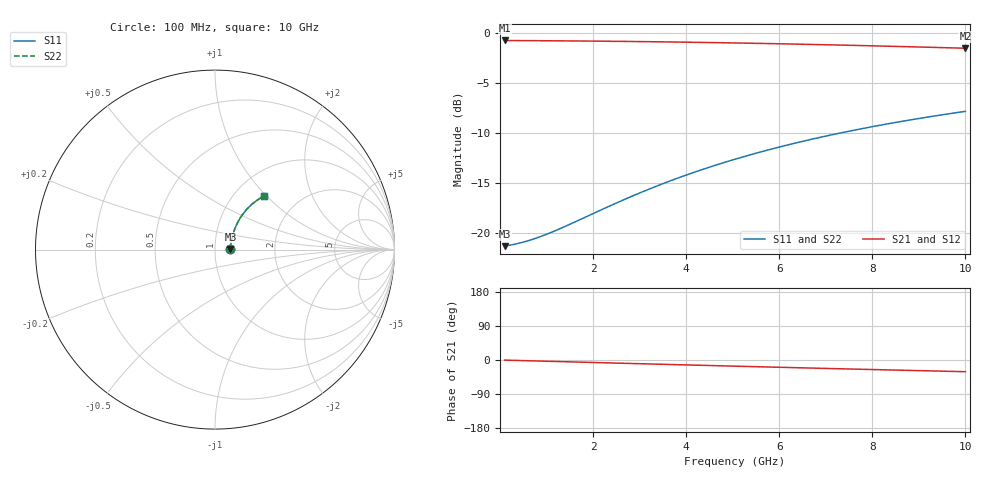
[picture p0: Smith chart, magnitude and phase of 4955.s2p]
# Hz S RI R 50.00
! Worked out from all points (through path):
!   100 points, 100 MHz to 10 GHz, reference 50 ohm
!   highest |S21| = -0.78 dB at 100 MHz (marker M1); lowest = -1.6 dB at 10 GHz (marker M2)
!   group delay of S21, straight-line fit = 8.6 ps
!   lowest |S11| = -21.3 dB at 100 MHz (marker M3), VSWR 1.19, Z = 59.4 + j0.471 ohm
!   |S11| at or under -10 dB: start of sweep to 7.333 GHz
!   |S22| runs from -21.3 to -7.9 dB; largest |S21 - S12| = 0
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1e8  0.0858 0.00394  0.9142 -0.00523  0.9142 -0.00523  0.0858 0.00394
3e8  0.0869 0.0118  0.9131 -0.0157  0.9131 -0.0157  0.0869 0.0118
5e8  0.0878 0.0196  0.9121 -0.0261  0.9121 -0.0261  0.0878 0.0196
8e8  0.0893 0.0313  0.9106 -0.0417  0.9106 -0.0417  0.0893 0.0313
1e9  0.0904 0.039  0.9095 -0.052  0.9095 -0.052  0.0904 0.039
1.2e9  0.0917 0.0468  0.9082 -0.0623  0.9082 -0.0623  0.0917 0.0468
1.8e9  0.0963 0.0697  0.9033 -0.093  0.9033 -0.093  0.0963 0.0697
2.3e9  0.1013 0.0884  0.8982 -0.1182  0.8982 -0.1182  0.1013 0.0884
2.7e9  0.1059 0.1031  0.8934 -0.1381  0.8934 -0.1381  0.1059 0.1031
3.1e9  0.1112 0.1176  0.8879 -0.1578  0.8879 -0.1578  0.1112 0.1176
3.4e9  0.1155 0.1282  0.8834 -0.1723  0.8834 -0.1723  0.1155 0.1282
3.8e9  0.1218 0.1421  0.8769 -0.1914  0.8769 -0.1914  0.1218 0.1421
4.2e9  0.1287 0.1556  0.8698 -0.2101  0.8698 -0.2101  0.1287 0.1556
4.6e9  0.136 0.1687  0.8621 -0.2284  0.8621 -0.2284  0.136 0.1687
5.1e9  0.146 0.1845  0.8517 -0.2507  0.8517 -0.2507  0.146 0.1845
5.5e9  0.1545 0.1966  0.8428 -0.2681  0.8428 -0.2681  0.1545 0.1966
5.9e9  0.1634 0.2083  0.8335 -0.285  0.8335 -0.285  0.1634 0.2083
6.7e9  0.1825 0.2302  0.8134 -0.3173  0.8134 -0.3173  0.1825 0.2302
7.5e9  0.2031 0.25  0.7919 -0.3477  0.7919 -0.3477  0.2031 0.25
8.4e9  0.2275 0.2698  0.7662 -0.3793  0.7662 -0.3793  0.2275 0.2698
9.2e9  0.2502 0.2851  0.7422 -0.4052  0.7422 -0.4052  0.2502 0.2851
1e10  0.2735 0.2982  0.7175 -0.429  0.7175 -0.429  0.2735 0.2982
